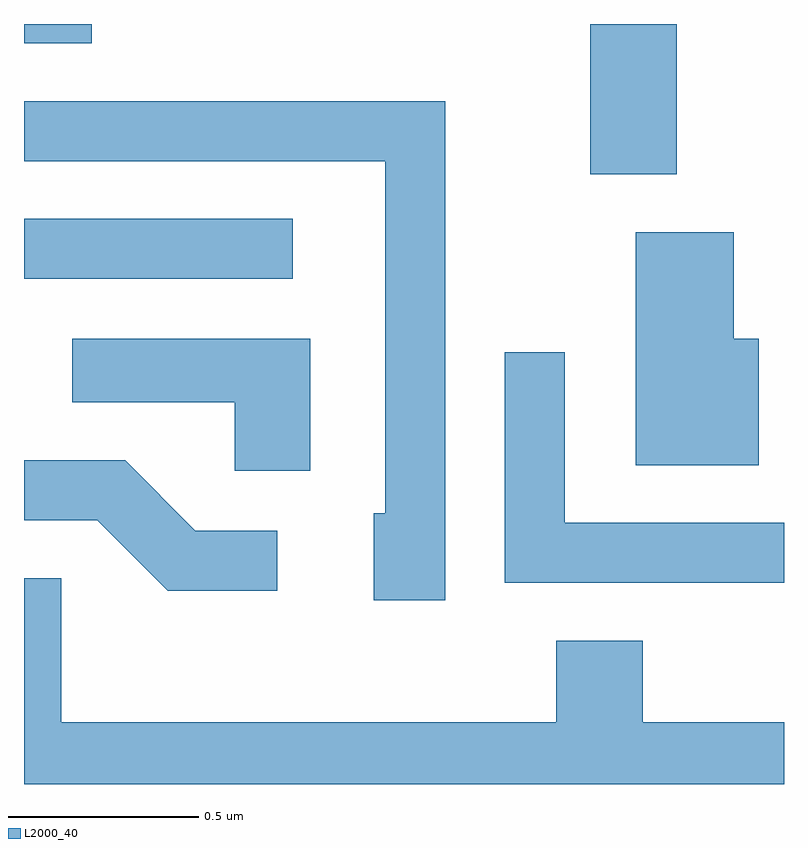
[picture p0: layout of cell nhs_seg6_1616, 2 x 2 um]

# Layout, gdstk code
import gdstk
lib = gdstk.Library(unit=1e-6, precision=1e-09)
def R(c, l, rs):  # rectangles x0, y0, x1, y1
    for r in rs: c.add(gdstk.rectangle(r[:2], r[2:], *l))
def P(c, l, *ps):  # polygons
    for p in ps: c.add(gdstk.Polygon(p, *l))
L2000_40 = (2000, 40)

nhs_seg6_1616 = lib.new_cell('nhs_seg6_1616')
R(nhs_seg6_1616, L2000_40, [(196.611,1642.491,197.318,1642.649), (198.101,1642.766,198.329,1643.162), (196.611,1643.111,196.789,1643.162)])
P(nhs_seg6_1616, L2000_40, [(197.719,1642.959),(196.611,1642.959),(196.611,1642.801),(197.561,1642.801),(197.561,1641.874),(197.531,1641.874),(197.531,1641.646),(197.719,1641.646)],
  [(198.544,1642.334),(198.479,1642.334),(198.479,1642.614),(198.221,1642.614),(198.221,1642.001),(198.544,1642.001)],
  [(197.364,1642.334),(196.738,1642.334),(196.738,1642.166),(197.166,1642.166),(197.166,1641.986),(197.364,1641.986)],
  [(198.611,1641.849),(198.034,1641.849),(198.034,1642.298),(197.876,1642.298),(197.876,1641.691),(198.611,1641.691)],
  [(197.278,1641.829),(197.062,1641.829),(196.877,1642.014),(196.611,1642.014),(196.611,1641.856),(196.804,1641.856),(196.989,1641.671),(197.278,1641.671)],
  [(198.611,1641.324),(198.239,1641.324),(198.239,1641.539),(198.011,1641.539),(198.011,1641.324),(196.709,1641.324),(196.709,1641.704),(196.611,1641.704),(196.611,1641.162),(198.611,1641.162)])

lib.write_gds('nhs_seg6_1616.gds')
